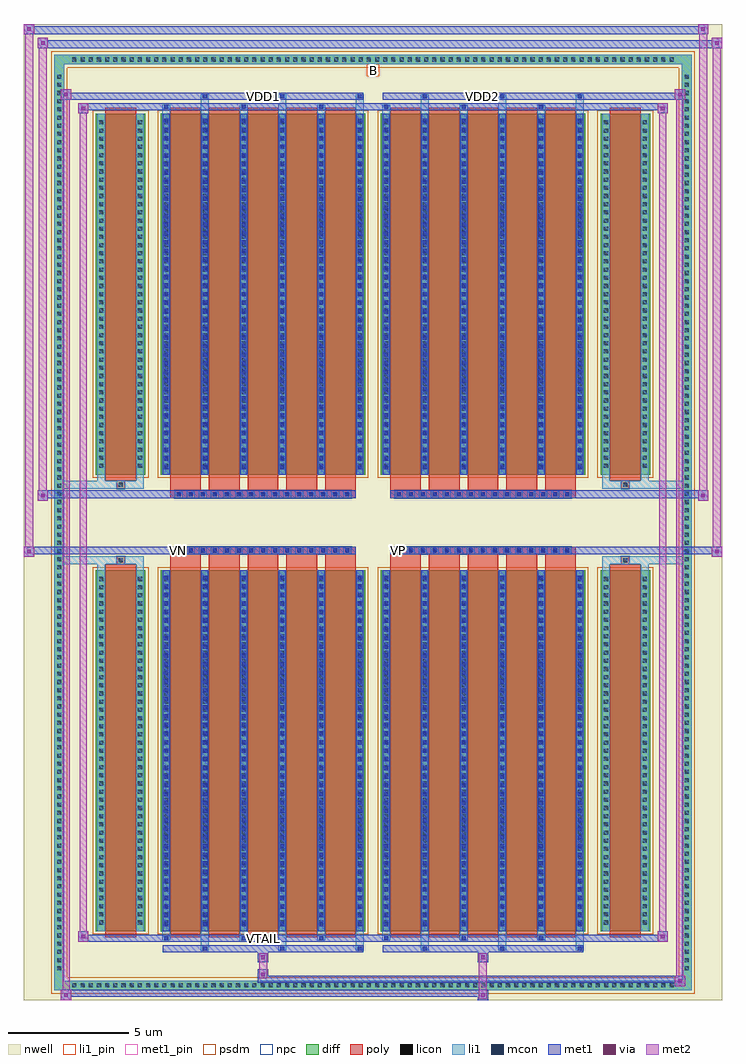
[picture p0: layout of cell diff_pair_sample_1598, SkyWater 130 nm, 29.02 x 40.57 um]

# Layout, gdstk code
import gdstk
lib = gdstk.Library(unit=1e-6, precision=5e-09)
def R(c, l, rs):  # rectangles x0, y0, x1, y1
    for r in rs: c.add(gdstk.rectangle(r[:2], r[2:], *l))
def A(c, l, x, y, w, h, nx, ny, dx, dy):  # array of equal rectangles
    R(c, l, [(x+i*dx, y+j*dy, x+i*dx+w, y+j*dy+h) for i in range(nx) for j in range(ny)])
def P(c, l, *ps):  # polygons
    for p in ps: c.add(gdstk.Polygon(p, *l))
nwell = (64, 20)
diff = (65, 20)
poly = (66, 20)
licon = (66, 44)
li1_pin = (67, 16)
li1 = (67, 20)
mcon = (67, 44)
met1_pin = (68, 16)
met1 = (68, 20)
via = (68, 44)
met2 = (69, 20)
psdm = (94, 20)
npc = (95, 20)

diff_pair_sample_1598 = lib.new_cell('diff_pair_sample_1598')
R(diff_pair_sample_1598, nwell, [(-14.51,-19.85,14.51,20.72), (-11.83,-18.04,-0.01,-0.8), (0.01,-18.04,11.83,-0.8), (-11.83,0.8,-0.01,18.04), (0.01,0.8,11.83,18.04)])
A(diff_pair_sample_1598, diff, -12.615, -19.45, 0.41, 0.41, 74, 2, 0.34, 38.49)
A(diff_pair_sample_1598, diff, -13.24, -18.735, 0.41, 0.41, 1, 110, 0, 0.34)
A(diff_pair_sample_1598, diff, 12.83, -18.735, 0.41, 0.41, 1, 110, 0, 0.34)
R(diff_pair_sample_1598, diff, [(-12.615,-19.45,12.615,-19.04), (-13.24,-18.735,-12.83,18.735), (12.83,-18.735,13.24,18.735), (-11.52,-16.995,-9.46,-1.985), (-8.82,-16.995,-0.32,-1.985), (0.32,-16.995,8.82,-1.985), (9.46,-16.995,11.52,-1.985), (-11.52,1.985,-9.46,16.995), (-8.82,1.985,-0.32,16.995), (0.32,1.985,8.82,16.995), (9.46,1.985,11.52,16.995), (-12.615,19.04,12.615,19.45)])
P(diff_pair_sample_1598, diff, [(13.24,19.45),(-13.24,19.45),(-13.24,-19.04),(-12.83,-19.04),(-12.83,19.04),(12.83,19.04),(12.83,-19.04),(-12.83,-19.04),(-13.24,-19.04),(-13.24,-19.45),(13.24,-19.45)])
A(diff_pair_sample_1598, poly, -8.43, -17.245, 1.28, 15.51, 5, 2, 1.61, 18.98)
A(diff_pair_sample_1598, poly, 0.71, -17.245, 1.28, 15.51, 5, 2, 1.61, 18.98)
A(diff_pair_sample_1598, poly, -8.43, -1.735, 1.28, 0.405, 5, 2, 1.61, 3.065)
A(diff_pair_sample_1598, poly, 0.71, -1.735, 1.28, 0.405, 5, 2, 1.61, 3.065)
A(diff_pair_sample_1598, poly, -8.235, -1.33, 0.33, 0.33, 15, 2, 0.5, 2.33)
A(diff_pair_sample_1598, poly, 0.905, -1.33, 0.33, 0.33, 15, 2, 0.5, 2.33)
R(diff_pair_sample_1598, poly, [(-11.13,-17.245,-9.85,-1.735), (9.85,-17.245,11.13,-1.735), (-10.655,-1.735,-10.325,-1.405), (-10.655,-1.735,-10.325,-1.405), (10.325,-1.735,10.655,-1.405), (10.325,-1.735,10.655,-1.405), (-8.43,-1.33,-0.71,-1), (0.71,-1.33,8.43,-1), (-8.43,1,-0.71,1.33), (0.71,1,8.43,1.33), (-10.655,1.405,-10.325,1.735), (-10.655,1.405,-10.325,1.735), (10.325,1.405,10.655,1.735), (10.325,1.405,10.655,1.735), (-11.13,1.735,-9.85,17.245), (9.85,1.735,11.13,17.245)])
A(diff_pair_sample_1598, licon, -12.495, -19.33, 0.17, 0.17, 74, 2, 0.34, 38.49)
A(diff_pair_sample_1598, licon, -13.12, -18.615, 0.17, 0.17, 1, 110, 0, 0.34)
A(diff_pair_sample_1598, licon, 12.95, -18.615, 0.17, 0.17, 1, 110, 0, 0.34)
A(diff_pair_sample_1598, licon, -11.38, -16.715, 0.17, 0.17, 1, 43, 0, 0.34)
A(diff_pair_sample_1598, licon, -9.77, -16.715, 0.17, 0.17, 1, 43, 0, 0.34)
A(diff_pair_sample_1598, licon, -8.68, -16.715, 0.17, 0.17, 6, 43, 1.61, 0.34)
A(diff_pair_sample_1598, licon, 0.46, -16.715, 0.17, 0.17, 6, 43, 1.61, 0.34)
A(diff_pair_sample_1598, licon, 9.6, -16.715, 0.17, 0.17, 1, 43, 0, 0.34)
A(diff_pair_sample_1598, licon, 11.21, -16.715, 0.17, 0.17, 1, 43, 0, 0.34)
A(diff_pair_sample_1598, licon, -8.155, -1.25, 0.17, 0.17, 15, 2, 0.5, 2.33)
A(diff_pair_sample_1598, licon, 0.985, -1.25, 0.17, 0.17, 15, 2, 0.5, 2.33)
A(diff_pair_sample_1598, licon, -11.38, 2.265, 0.17, 0.17, 1, 43, 0, 0.34)
A(diff_pair_sample_1598, licon, -9.77, 2.265, 0.17, 0.17, 1, 43, 0, 0.34)
A(diff_pair_sample_1598, licon, -8.68, 2.265, 0.17, 0.17, 6, 43, 1.61, 0.34)
A(diff_pair_sample_1598, licon, 0.46, 2.265, 0.17, 0.17, 6, 43, 1.61, 0.34)
A(diff_pair_sample_1598, licon, 9.6, 2.265, 0.17, 0.17, 1, 43, 0, 0.34)
A(diff_pair_sample_1598, licon, 11.21, 2.265, 0.17, 0.17, 1, 43, 0, 0.34)
R(diff_pair_sample_1598, licon, [(-10.575,-1.655,-10.405,-1.485), (10.405,-1.655,10.575,-1.485), (-10.575,1.485,-10.405,1.655), (10.405,1.485,10.575,1.655)])
R(diff_pair_sample_1598, li1_pin, [(-0.25,18.54,0.25,19.04)])
A(diff_pair_sample_1598, li1, -12.575, -19.41, 0.33, 0.33, 74, 2, 0.34, 38.49)
A(diff_pair_sample_1598, li1, -13.2, -18.695, 0.33, 0.33, 1, 110, 0, 0.34)
A(diff_pair_sample_1598, li1, 12.87, -18.695, 0.33, 0.33, 1, 110, 0, 0.34)
A(diff_pair_sample_1598, li1, -7.15, -17.8, 0.33, 0.805, 3, 2, 3.22, 34.795)
A(diff_pair_sample_1598, li1, -7.07, -17.8, 0.17, 0.17, 3, 2, 3.22, 35.43)
A(diff_pair_sample_1598, li1, 1.99, -17.8, 0.33, 0.805, 3, 2, 3.22, 34.795)
A(diff_pair_sample_1598, li1, 2.07, -17.8, 0.17, 0.17, 3, 2, 3.22, 35.43)
A(diff_pair_sample_1598, li1, -8.76, -17.37, 0.33, 0.375, 3, 2, 3.22, 34.365)
A(diff_pair_sample_1598, li1, -8.68, -17.37, 0.17, 0.17, 3, 2, 3.22, 34.57)
A(diff_pair_sample_1598, li1, 0.38, -17.37, 0.33, 0.375, 3, 2, 3.22, 34.365)
A(diff_pair_sample_1598, li1, 0.46, -17.37, 0.17, 0.17, 3, 2, 3.22, 34.57)
A(diff_pair_sample_1598, li1, -8.76, -16.995, 0.33, 15.01, 6, 2, 1.61, 18.98)
A(diff_pair_sample_1598, li1, 0.38, -16.995, 0.33, 15.01, 6, 2, 1.61, 18.98)
A(diff_pair_sample_1598, li1, -11.46, -16.795, 0.33, 0.33, 1, 43, 0, 0.34)
A(diff_pair_sample_1598, li1, -9.85, -16.795, 0.33, 0.33, 1, 43, 0, 0.34)
A(diff_pair_sample_1598, li1, -8.76, -16.795, 0.33, 0.33, 6, 43, 1.61, 0.34)
A(diff_pair_sample_1598, li1, 0.38, -16.795, 0.33, 0.33, 6, 43, 1.61, 0.34)
A(diff_pair_sample_1598, li1, 9.52, -16.795, 0.33, 0.33, 1, 43, 0, 0.34)
A(diff_pair_sample_1598, li1, 11.13, -16.795, 0.33, 0.33, 1, 43, 0, 0.34)
A(diff_pair_sample_1598, li1, -8.68, -16.775, 0.17, 0.17, 6, 41, 1.61, 0.36)
A(diff_pair_sample_1598, li1, -8.68, -16.775, 0.17, 14.57, 6, 2, 1.61, 18.98)
A(diff_pair_sample_1598, li1, 0.46, -16.775, 0.17, 0.17, 6, 41, 1.61, 0.36)
A(diff_pair_sample_1598, li1, 0.46, -16.775, 0.17, 14.57, 6, 2, 1.61, 18.98)
A(diff_pair_sample_1598, li1, -8.235, -1.33, 0.33, 0.33, 15, 2, 0.5, 2.33)
A(diff_pair_sample_1598, li1, 0.905, -1.33, 0.33, 0.33, 15, 2, 0.5, 2.33)
A(diff_pair_sample_1598, li1, -11.46, 2.185, 0.33, 0.33, 1, 43, 0, 0.34)
A(diff_pair_sample_1598, li1, -9.85, 2.185, 0.33, 0.33, 1, 43, 0, 0.34)
A(diff_pair_sample_1598, li1, -8.76, 2.185, 0.33, 0.33, 6, 43, 1.61, 0.34)
A(diff_pair_sample_1598, li1, 0.38, 2.185, 0.33, 0.33, 6, 43, 1.61, 0.34)
A(diff_pair_sample_1598, li1, 9.52, 2.185, 0.33, 0.33, 1, 43, 0, 0.34)
A(diff_pair_sample_1598, li1, 11.13, 2.185, 0.33, 0.33, 1, 43, 0, 0.34)
A(diff_pair_sample_1598, li1, -8.68, 2.205, 0.17, 0.17, 6, 41, 1.61, 0.36)
A(diff_pair_sample_1598, li1, 0.46, 2.205, 0.17, 0.17, 6, 41, 1.61, 0.36)
R(diff_pair_sample_1598, li1, [(-13.24,-19.45,-12.83,-19.04), (-13.24,-19.45,-12.83,-19.04), (-12.83,-19.45,12.83,-19.04), (12.83,-19.45,13.24,-19.04), (12.83,-19.45,13.24,-19.04), (-13.24,-19.04,-12.83,19.04), (12.83,-19.04,13.24,19.04), (-11.46,-16.995,-11.13,-1.985), (-9.85,-16.995,-9.52,-1.985), (9.52,-16.995,9.85,-1.985), (11.13,-16.995,11.46,-1.985), (-11.46,-1.985,-11.13,-1.405), (-9.85,-1.985,-9.52,-1.405), (9.52,-1.985,9.85,-1.405), (11.13,-1.985,11.46,-1.405), (-13.24,-1.735,-10.655,-1.405), (-11.46,-1.735,-10.655,-1.405), (-10.655,-1.735,-10.325,-1.405), (-10.325,-1.735,-9.52,-1.405), (9.52,-1.735,10.325,-1.405), (10.325,-1.735,10.655,-1.405), (10.325,-1.735,13.24,-1.405), (10.655,-1.735,11.46,-1.405), (-13.24,1.405,-10.655,1.735), (-11.46,1.405,-10.655,1.735), (-11.46,1.405,-11.13,1.985), (-10.655,1.405,-10.325,1.735), (-10.325,1.405,-9.52,1.735), (-9.85,1.405,-9.52,1.985), (9.52,1.405,10.325,1.735), (9.52,1.405,9.85,1.985), (10.325,1.405,10.655,1.735), (10.325,1.405,13.24,1.735), (10.655,1.405,11.46,1.735), (11.13,1.405,11.46,1.985), (-11.46,1.985,-11.13,16.995), (-9.85,1.985,-9.52,16.995), (9.52,1.985,9.85,16.995), (11.13,1.985,11.46,16.995), (-13.24,19.04,-12.83,19.45), (-13.24,19.04,-12.83,19.45), (-12.83,19.04,12.83,19.45), (12.83,19.04,13.24,19.45), (12.83,19.04,13.24,19.45)])
A(diff_pair_sample_1598, mcon, -7.07, -17.8, 0.17, 0.17, 3, 2, 3.22, 35.43)
A(diff_pair_sample_1598, mcon, 2.07, -17.8, 0.17, 0.17, 3, 2, 3.22, 35.43)
A(diff_pair_sample_1598, mcon, -8.68, -17.37, 0.17, 0.17, 3, 2, 3.22, 34.57)
A(diff_pair_sample_1598, mcon, 0.46, -17.37, 0.17, 0.17, 3, 2, 3.22, 34.57)
A(diff_pair_sample_1598, mcon, -8.68, -16.775, 0.17, 0.17, 6, 41, 1.61, 0.36)
A(diff_pair_sample_1598, mcon, 0.46, -16.775, 0.17, 0.17, 6, 41, 1.61, 0.36)
A(diff_pair_sample_1598, mcon, -8.155, -1.25, 0.17, 0.17, 15, 2, 0.5, 2.33)
A(diff_pair_sample_1598, mcon, 0.985, -1.25, 0.17, 0.17, 15, 2, 0.5, 2.33)
A(diff_pair_sample_1598, mcon, -8.68, 2.205, 0.17, 0.17, 6, 41, 1.61, 0.36)
A(diff_pair_sample_1598, mcon, 0.46, 2.205, 0.17, 0.17, 6, 41, 1.61, 0.36)
R(diff_pair_sample_1598, met1_pin, [(-4.705,-17.41,-4.435,-17.14), (-8.205,-1.29,-7.935,-1.02), (0.935,-1.29,1.205,-1.02), (-4.705,17.59,-4.435,17.86), (4.435,17.59,4.705,17.86)])
A(diff_pair_sample_1598, met1, -7.13, -17.86, 0.29, 0.29, 3, 2, 3.22, 35.43)
A(diff_pair_sample_1598, met1, 2.01, -17.86, 0.29, 0.29, 3, 2, 3.22, 35.43)
A(diff_pair_sample_1598, met1, -8.74, -17.43, 0.29, 0.29, 3, 2, 3.22, 34.57)
A(diff_pair_sample_1598, met1, 0.4, -17.43, 0.29, 0.29, 3, 2, 3.22, 34.57)
A(diff_pair_sample_1598, met1, -8.74, -16.995, 0.29, 15.01, 6, 2, 1.61, 18.98)
A(diff_pair_sample_1598, met1, 0.4, -16.995, 0.29, 15.01, 6, 2, 1.61, 18.98)
A(diff_pair_sample_1598, met1, -8.74, -16.835, 0.29, 0.29, 6, 41, 1.61, 0.36)
A(diff_pair_sample_1598, met1, 0.4, -16.835, 0.29, 0.29, 6, 41, 1.61, 0.36)
A(diff_pair_sample_1598, met1, -8.215, -1.31, 0.29, 0.29, 15, 2, 0.5, 2.33)
A(diff_pair_sample_1598, met1, 0.925, -1.31, 0.29, 0.29, 15, 2, 0.5, 2.33)
A(diff_pair_sample_1598, met1, -8.74, 2.145, 0.29, 0.29, 6, 41, 1.61, 0.36)
A(diff_pair_sample_1598, met1, 0.4, 2.145, 0.29, 0.29, 6, 41, 1.61, 0.36)
R(diff_pair_sample_1598, met1, [(-12.97,-19.85,-12.54,-19.42), (4.355,-19.85,4.785,-19.42), (-12.97,-19.71,4.785,-19.42), (12.54,-19.28,12.97,-18.85), (-4.785,-19.14,12.97,-18.85), (-4.785,-19,-4.355,-18.57), (-4.785,-18.29,-4.355,-17.86), (4.355,-18.29,4.785,-17.86), (-8.74,-17.86,-0.4,-17.57), (0.4,-17.86,8.74,-17.57), (-12.26,-17.43,-11.83,-17), (-12.26,-17.43,-8.74,-17.14), (-8.74,-17.43,-0.4,-17.14), (-0.4,-17.43,0.4,-17.14), (0.4,-17.43,8.74,-17.14), (8.74,-17.43,12.26,-17.14), (11.83,-17.43,12.26,-17), (-14.51,-1.43,-14.08,-1), (14.08,-1.43,14.51,-1), (-14.51,-1.33,-0.71,-1), (-8.43,-1.33,-0.71,-1), (0.71,-1.33,8.43,-1), (0.71,-1.33,14.51,-1), (-13.94,0.9,-13.51,1.33), (13.51,0.9,13.94,1.33), (-13.94,1,-8.43,1.33), (-8.43,1,-0.71,1.33), (0.71,1,8.43,1.33), (8.43,1,13.94,1.33), (-12.26,17,-11.83,17.43), (11.83,17,12.26,17.43), (-12.26,17.14,-8.74,17.43), (-8.74,17.14,-0.4,17.43), (-0.4,17.14,0.4,17.43), (0.4,17.14,8.74,17.43), (8.74,17.14,12.26,17.43), (-12.97,17.57,-12.54,18), (-12.97,17.57,-8.74,17.86), (-8.74,17.57,-0.4,17.86), (0.4,17.57,8.74,17.86), (8.74,17.57,12.97,17.86), (12.54,17.57,12.97,18), (-13.94,19.72,-13.51,20.15), (-13.94,19.72,-11.83,20.05), (-11.83,19.72,11.83,20.05), (11.83,19.72,14.51,20.05), (14.08,19.72,14.51,20.15), (-14.51,20.29,-14.08,20.72), (-14.51,20.29,-11.83,20.62), (-11.83,20.29,11.83,20.62), (11.83,20.29,13.94,20.62), (13.51,20.29,13.94,20.72)])
R(diff_pair_sample_1598, via, [(-12.83,-19.71,-12.68,-19.56), (4.495,-19.71,4.645,-19.56), (12.68,-19.14,12.83,-18.99), (-4.645,-18.86,-4.495,-18.71), (-4.645,-18.15,-4.495,-18), (4.495,-18.15,4.645,-18), (-12.12,-17.29,-11.97,-17.14), (11.97,-17.29,12.12,-17.14), (-14.37,-1.29,-14.22,-1.14), (14.22,-1.29,14.37,-1.14), (-13.8,1.04,-13.65,1.19), (13.65,1.04,13.8,1.19), (-12.12,17.14,-11.97,17.29), (11.97,17.14,12.12,17.29), (-12.83,17.71,-12.68,17.86), (12.68,17.71,12.83,17.86), (-13.8,19.86,-13.65,20.01), (14.22,19.86,14.37,20.01), (-14.37,20.43,-14.22,20.58), (13.65,20.43,13.8,20.58)])
R(diff_pair_sample_1598, met2, [(-12.97,-19.85,-12.54,-19.42), (-12.9,-19.85,-12.61,18), (-12.61,-19.85,-12.54,-19.42), (-12.92,-19.8,-12.59,-19.47), (4.405,-19.8,4.735,-19.47), (4.405,-19.47,4.735,-18.24), (12.54,-19.28,12.97,-18.85), (12.61,-19.28,12.9,18), (12.9,-19.28,12.97,-18.85), (12.59,-19.23,12.92,-18.9), (-4.735,-18.95,-4.405,-18.62), (-4.735,-18.62,-4.405,-18.24), (-4.735,-18.24,-4.405,-17.91), (4.405,-18.24,4.735,-17.91), (-12.26,-17.43,-11.83,-17), (-12.19,-17.43,-11.9,17.43), (-11.9,-17.43,-11.83,-17), (11.83,-17.43,12.26,-17), (11.9,-17.43,12.19,17.43), (12.19,-17.43,12.26,-17), (-12.21,-17.38,-11.88,-17.05), (11.88,-17.38,12.21,-17.05), (-14.51,-1.43,-14.08,-1), (-14.46,-1.43,-14.13,20.72), (-14.13,-1.43,-14.08,-1), (14.08,-1.43,14.51,-1), (14.13,-1.43,14.46,20.15), (14.46,-1.43,14.51,-1), (-14.46,-1.38,-14.13,-1.05), (14.13,-1.38,14.46,-1.05), (-13.94,0.9,-13.51,1.33), (-13.89,0.9,-13.56,20.15), (-13.56,0.9,-13.51,1.33), (13.51,0.9,13.94,1.33), (13.56,0.9,13.89,20.72), (13.89,0.9,13.94,1.33), (-13.89,0.95,-13.56,1.28), (13.56,0.95,13.89,1.28), (-12.26,17,-11.83,17.43), (-11.9,17,-11.83,17.43), (11.83,17,12.26,17.43), (12.19,17,12.26,17.43), (-12.21,17.05,-11.88,17.38), (11.88,17.05,12.21,17.38), (-12.97,17.57,-12.54,18), (-12.61,17.57,-12.54,18), (12.54,17.57,12.97,18), (12.9,17.57,12.97,18), (-12.92,17.62,-12.59,17.95), (12.59,17.62,12.92,17.95), (-13.94,19.72,-13.51,20.15), (-13.56,19.72,-13.51,20.15), (14.08,19.72,14.51,20.15), (14.46,19.72,14.51,20.15), (-13.89,19.77,-13.56,20.1), (14.13,19.77,14.46,20.1), (-14.51,20.29,-14.08,20.72), (-14.13,20.29,-14.08,20.72), (13.51,20.29,13.94,20.72), (13.89,20.29,13.94,20.72), (-14.46,20.34,-14.13,20.67), (13.56,20.34,13.89,20.67)])
R(diff_pair_sample_1598, psdm, [(-11.65,-17.125,-9.33,-1.855), (-8.95,-17.125,-0.19,-1.855), (0.19,-17.125,8.95,-1.855), (9.33,-17.125,11.65,-1.855), (-11.65,1.855,-9.33,17.125), (-8.95,1.855,-0.19,17.125), (0.19,1.855,8.95,17.125), (9.33,1.855,11.65,17.125)])
P(diff_pair_sample_1598, psdm, [(13.37,19.58),(-13.37,19.58),(-13.37,-18.91),(-12.7,-18.91),(-12.7,18.91),(12.7,18.91),(12.7,-18.91),(-12.7,-18.91),(-13.37,-18.91),(-13.37,-19.58),(13.37,-19.58)])
A(diff_pair_sample_1598, npc, -8.255, -1.35, 0.37, 0.37, 15, 2, 0.5, 2.33)
A(diff_pair_sample_1598, npc, 0.885, -1.35, 0.37, 0.37, 15, 2, 0.5, 2.33)
R(diff_pair_sample_1598, npc, [(-10.675,-1.755,-10.305,-1.385), (10.305,-1.755,10.675,-1.385), (-8.255,-1.35,-7.385,-0.98), (-8.255,-1.35,-7.385,-0.98), (-7.755,-1.35,-6.885,-0.98), (-7.755,-1.35,-6.885,-0.98), (-7.255,-1.35,-6.385,-0.98), (-7.255,-1.35,-6.385,-0.98), (-6.755,-1.35,-5.885,-0.98), (-6.755,-1.35,-5.885,-0.98), (-6.255,-1.35,-5.385,-0.98), (-6.255,-1.35,-5.385,-0.98), (-5.755,-1.35,-4.885,-0.98), (-5.755,-1.35,-4.885,-0.98), (-5.255,-1.35,-4.385,-0.98), (-5.255,-1.35,-4.385,-0.98), (-4.755,-1.35,-3.885,-0.98), (-4.755,-1.35,-3.885,-0.98), (-4.255,-1.35,-3.385,-0.98), (-4.255,-1.35,-3.385,-0.98), (-3.755,-1.35,-2.885,-0.98), (-3.755,-1.35,-2.885,-0.98), (-3.255,-1.35,-2.385,-0.98), (-3.255,-1.35,-2.385,-0.98), (-2.755,-1.35,-1.885,-0.98), (-2.755,-1.35,-1.885,-0.98), (-2.255,-1.35,-1.385,-0.98), (-2.255,-1.35,-1.385,-0.98), (-1.755,-1.35,-0.885,-0.98), (-1.755,-1.35,-0.885,-0.98), (0.885,-1.35,1.755,-0.98), (0.885,-1.35,1.755,-0.98), (1.385,-1.35,2.255,-0.98), (1.385,-1.35,2.255,-0.98), (1.885,-1.35,2.755,-0.98), (1.885,-1.35,2.755,-0.98), (2.385,-1.35,3.255,-0.98), (2.385,-1.35,3.255,-0.98), (2.885,-1.35,3.755,-0.98), (2.885,-1.35,3.755,-0.98), (3.385,-1.35,4.255,-0.98), (3.385,-1.35,4.255,-0.98), (3.885,-1.35,4.755,-0.98), (3.885,-1.35,4.755,-0.98), (4.385,-1.35,5.255,-0.98), (4.385,-1.35,5.255,-0.98), (4.885,-1.35,5.755,-0.98), (4.885,-1.35,5.755,-0.98), (5.385,-1.35,6.255,-0.98), (5.385,-1.35,6.255,-0.98), (5.885,-1.35,6.755,-0.98), (5.885,-1.35,6.755,-0.98), (6.385,-1.35,7.255,-0.98), (6.385,-1.35,7.255,-0.98), (6.885,-1.35,7.755,-0.98), (6.885,-1.35,7.755,-0.98), (7.385,-1.35,8.255,-0.98), (7.385,-1.35,8.255,-0.98), (-8.255,0.98,-7.385,1.35), (-8.255,0.98,-7.385,1.35), (-7.755,0.98,-6.885,1.35), (-7.755,0.98,-6.885,1.35), (-7.255,0.98,-6.385,1.35), (-7.255,0.98,-6.385,1.35), (-6.755,0.98,-5.885,1.35), (-6.755,0.98,-5.885,1.35), (-6.255,0.98,-5.385,1.35), (-6.255,0.98,-5.385,1.35), (-5.755,0.98,-4.885,1.35), (-5.755,0.98,-4.885,1.35), (-5.255,0.98,-4.385,1.35), (-5.255,0.98,-4.385,1.35), (-4.755,0.98,-3.885,1.35), (-4.755,0.98,-3.885,1.35), (-4.255,0.98,-3.385,1.35), (-4.255,0.98,-3.385,1.35), (-3.755,0.98,-2.885,1.35), (-3.755,0.98,-2.885,1.35), (-3.255,0.98,-2.385,1.35), (-3.255,0.98,-2.385,1.35), (-2.755,0.98,-1.885,1.35), (-2.755,0.98,-1.885,1.35), (-2.255,0.98,-1.385,1.35), (-2.255,0.98,-1.385,1.35), (-1.755,0.98,-0.885,1.35), (-1.755,0.98,-0.885,1.35), (0.885,0.98,1.755,1.35), (0.885,0.98,1.755,1.35), (1.385,0.98,2.255,1.35), (1.385,0.98,2.255,1.35), (1.885,0.98,2.755,1.35), (1.885,0.98,2.755,1.35), (2.385,0.98,3.255,1.35), (2.385,0.98,3.255,1.35), (2.885,0.98,3.755,1.35), (2.885,0.98,3.755,1.35), (3.385,0.98,4.255,1.35), (3.385,0.98,4.255,1.35), (3.885,0.98,4.755,1.35), (3.885,0.98,4.755,1.35), (4.385,0.98,5.255,1.35), (4.385,0.98,5.255,1.35), (4.885,0.98,5.755,1.35), (4.885,0.98,5.755,1.35), (5.385,0.98,6.255,1.35), (5.385,0.98,6.255,1.35), (5.885,0.98,6.755,1.35), (5.885,0.98,6.755,1.35), (6.385,0.98,7.255,1.35), (6.385,0.98,7.255,1.35), (6.885,0.98,7.755,1.35), (6.885,0.98,7.755,1.35), (7.385,0.98,8.255,1.35), (7.385,0.98,8.255,1.35), (-10.675,1.385,-10.305,1.755), (10.305,1.385,10.675,1.755)])
diff_pair_sample_1598.add(gdstk.Label('VTAIL', (-4.57,-17.275), layer=68, texttype=5))
diff_pair_sample_1598.add(gdstk.Label('VN', (-8.07,-1.155), layer=68, texttype=5))
diff_pair_sample_1598.add(gdstk.Label('VP', (1.07,-1.155), layer=68, texttype=5))
diff_pair_sample_1598.add(gdstk.Label('B', (0,18.79), layer=67, texttype=5))
diff_pair_sample_1598.add(gdstk.Label('VDD2', (4.57,17.725), layer=68, texttype=5))
diff_pair_sample_1598.add(gdstk.Label('VDD1', (-4.57,17.725), layer=68, texttype=5))

lib.write_gds('diff_pair_sample_1598.gds')
